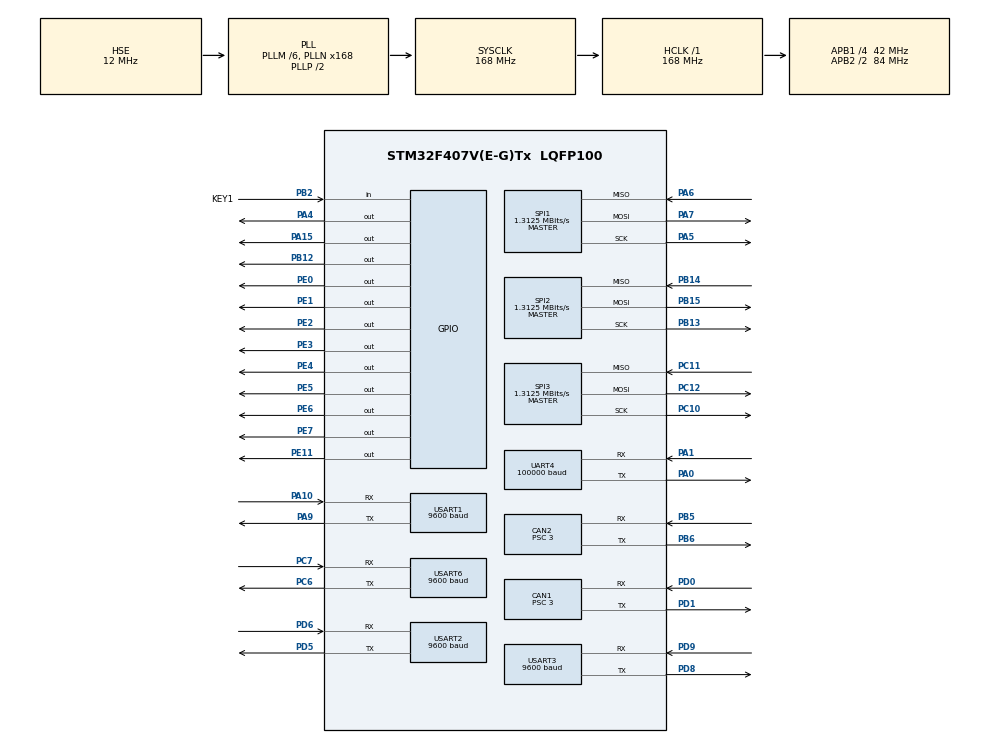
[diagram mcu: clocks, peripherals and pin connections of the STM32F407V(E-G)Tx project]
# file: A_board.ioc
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CAN1.BS1=CAN_BS1_9TQ
CAN1.BS2=CAN_BS2_4TQ
CAN1.CalculateBaudRate=1000000
CAN1.CalculateTimeBit=1000
CAN1.CalculateTimeQuantum=71.42857142857143
CAN1.Prescaler=3
CAN2.BS1=CAN_BS1_9TQ
CAN2.BS2=CAN_BS2_4TQ
CAN2.CalculateBaudRate=1000000
CAN2.CalculateTimeBit=1000
CAN2.CalculateTimeQuantum=71.42857142857143
CAN2.Prescaler=3
Dma.Request0=UART4_RX
Dma.Request1=USART1_TX
Dma.Request2=USART2_TX
Dma.Request3=USART3_TX
Dma.Request4=USART6_TX
Dma.UART4_RX.0.Direction=DMA_PERIPH_TO_MEMORY
Dma.UART4_RX.0.FIFOMode=DMA_FIFOMODE_DISABLE
Dma.UART4_RX.0.Instance=DMA1_Stream2
Dma.UART4_RX.0.MemDataAlignment=DMA_MDATAALIGN_BYTE
Dma.UART4_RX.0.MemInc=DMA_MINC_ENABLE
Dma.UART4_RX.0.Mode=DMA_CIRCULAR
Dma.UART4_RX.0.PeriphDataAlignment=DMA_PDATAALIGN_BYTE
Dma.UART4_RX.0.PeriphInc=DMA_PINC_DISABLE
Dma.UART4_RX.0.Priority=DMA_PRIORITY_VERY_HIGH
Dma.USART1_TX.1.Direction=DMA_MEMORY_TO_PERIPH
Dma.USART1_TX.1.FIFOMode=DMA_FIFOMODE_DISABLE
Dma.USART1_TX.1.Instance=DMA2_Stream7
Dma.USART1_TX.1.MemDataAlignment=DMA_MDATAALIGN_BYTE
Dma.USART1_TX.1.MemInc=DMA_MINC_ENABLE
Dma.USART1_TX.1.Mode=DMA_NORMAL
Dma.USART1_TX.1.PeriphDataAlignment=DMA_PDATAALIGN_BYTE
Dma.USART1_TX.1.PeriphInc=DMA_PINC_DISABLE
Dma.USART1_TX.1.Priority=DMA_PRIORITY_MEDIUM
Dma.USART2_TX.2.Direction=DMA_MEMORY_TO_PERIPH
Dma.USART2_TX.2.FIFOMode=DMA_FIFOMODE_DISABLE
Dma.USART2_TX.2.Instance=DMA1_Stream6
Dma.USART2_TX.2.MemDataAlignment=DMA_MDATAALIGN_BYTE
Dma.USART2_TX.2.MemInc=DMA_MINC_ENABLE
Dma.USART2_TX.2.Mode=DMA_NORMAL
Dma.USART2_TX.2.PeriphDataAlignment=DMA_PDATAALIGN_BYTE
Dma.USART2_TX.2.PeriphInc=DMA_PINC_DISABLE
Dma.USART2_TX.2.Priority=DMA_PRIORITY_MEDIUM
Dma.USART3_TX.3.Direction=DMA_MEMORY_TO_PERIPH
Dma.USART3_TX.3.FIFOMode=DMA_FIFOMODE_DISABLE
Dma.USART3_TX.3.Instance=DMA1_Stream3
Dma.USART3_TX.3.MemDataAlignment=DMA_MDATAALIGN_BYTE
Dma.USART3_TX.3.MemInc=DMA_MINC_ENABLE
Dma.USART3_TX.3.Mode=DMA_NORMAL
Dma.USART3_TX.3.PeriphDataAlignment=DMA_PDATAALIGN_BYTE
Dma.USART3_TX.3.PeriphInc=DMA_PINC_DISABLE
Dma.USART3_TX.3.Priority=DMA_PRIORITY_LOW
Dma.USART6_TX.4.Direction=DMA_MEMORY_TO_PERIPH
Dma.USART6_TX.4.FIFOMode=DMA_FIFOMODE_DISABLE
Dma.USART6_TX.4.Instance=DMA2_Stream6
Dma.USART6_TX.4.MemDataAlignment=DMA_MDATAALIGN_BYTE
Dma.USART6_TX.4.MemInc=DMA_MINC_ENABLE
Dma.USART6_TX.4.Mode=DMA_NORMAL
Dma.USART6_TX.4.PeriphDataAlignment=DMA_PDATAALIGN_BYTE
Dma.USART6_TX.4.PeriphInc=DMA_PINC_DISABLE
Dma.USART6_TX.4.Priority=DMA_PRIORITY_LOW
FREERTOS.INCLUDE_vTaskDelayUntil=1
FREERTOS.Tasks01=defaultTask,0,128,StartDefaultTask,Default,NULL,Dynamic,NULL,NULL
FREERTOS.configTOTAL_HEAP_SIZE=20000
Mcu.Family=STM32F4
Mcu.Name=STM32F407V(E-G)Tx
Mcu.Package=LQFP100
NVIC.CAN1_RX0_IRQn=true\:5\:0\:false\:false\:true\:true\:true\:true\:true
NVIC.CAN2_RX1_IRQn=true\:5\:0\:false\:false\:true\:true\:true\:true\:true
NVIC.DMA1_Stream2_IRQn=true\:5\:0\:false\:false\:true\:true\:false\:true\:true
NVIC.DMA1_Stream3_IRQn=true\:5\:0\:false\:false\:true\:true\:false\:true\:true
NVIC.DMA1_Stream6_IRQn=true\:5\:0\:false\:false\:true\:true\:false\:true\:true
NVIC.DMA2_Stream6_IRQn=true\:5\:0\:false\:false\:true\:true\:false\:true\:true
NVIC.DMA2_Stream7_IRQn=true\:5\:0\:false\:false\:true\:true\:false\:true\:true
NVIC.PriorityGroup=NVIC_PRIORITYGROUP_4
NVIC.TIM8_TRG_COM_TIM14_IRQn=true\:15\:0\:false\:false\:true\:false\:false\:true\:true
NVIC.TimeBase=TIM8_TRG_COM_TIM14_IRQn
NVIC.TimeBaseIP=TIM14
NVIC.UART4_IRQn=true\:5\:0\:false\:false\:true\:true\:true\:true\:true
NVIC.USART1_IRQn=true\:5\:0\:false\:false\:true\:true\:true\:true\:true
NVIC.USART2_IRQn=true\:5\:0\:false\:false\:true\:true\:true\:true\:true
NVIC.USART3_IRQn=true\:5\:0\:false\:false\:true\:true\:true\:true\:true
NVIC.USART6_IRQn=true\:5\:0\:false\:false\:true\:true\:true\:true\:true
PA0-WKUP.Mode=Asynchronous
PA0-WKUP.Signal=UART4_TX
PA1.Mode=Asynchronous
PA1.Signal=UART4_RX
PA10.Mode=Asynchronous
PA10.Signal=USART1_RX
PA13.Mode=Serial_Wire
PA13.Signal=SYS_JTMS-SWDIO
PA14.Mode=Serial_Wire
PA14.Signal=SYS_JTCK-SWCLK
PA15.Signal=GPIO_Output
PA4.Signal=GPIO_Output
PA5.Mode=Full_Duplex_Master
PA5.Signal=SPI1_SCK
PA6.Mode=Full_Duplex_Master
PA6.Signal=SPI1_MISO
PA7.Mode=Full_Duplex_Master
PA7.Signal=SPI1_MOSI
PA9.Mode=Asynchronous
PA9.Signal=USART1_TX
PB12.Signal=GPIO_Output
PB13.Mode=Full_Duplex_Master
PB13.Signal=SPI2_SCK
PB14.Mode=Full_Duplex_Master
PB14.Signal=SPI2_MISO
PB15.Mode=Full_Duplex_Master
PB15.Signal=SPI2_MOSI
PB2.GPIO_Label=KEY1
PB2.GPIO_PuPd=GPIO_PULLDOWN
PB2.Signal=GPIO_Input
PB5.Mode=CAN_Activate
PB5.Signal=CAN2_RX
PB6.Mode=CAN_Activate
PB6.Signal=CAN2_TX
PC10.Mode=Full_Duplex_Master
PC10.Signal=SPI3_SCK
PC11.Mode=Full_Duplex_Master
PC11.Signal=SPI3_MISO
PC12.Mode=Full_Duplex_Master
PC12.Signal=SPI3_MOSI
PC6.Mode=Asynchronous
PC6.Signal=USART6_TX
PC7.Mode=Asynchronous
PC7.Signal=USART6_RX
PD0.Mode=CAN_Activate
PD0.Signal=CAN1_RX
PD1.Mode=CAN_Activate
PD1.Signal=CAN1_TX
PD5.Mode=Asynchronous
PD5.Signal=USART2_TX
PD6.Mode=Asynchronous
PD6.Signal=USART2_RX
PD8.Mode=Asynchronous
PD8.Signal=USART3_TX
PD9.Mode=Asynchronous
PD9.Signal=USART3_RX
PE0.GPIO_ModeDefaultOutputPP=GPIO_MODE_OUTPUT_OD
PE0.GPIO_PuPd=GPIO_NOPULL
PE0.GPIO_Speed=GPIO_SPEED_FREQ_LOW
PE0.PinState=GPIO_PIN_RESET
PE0.Signal=GPIO_Output
PE1.GPIO_ModeDefaultOutputPP=GPIO_MODE_OUTPUT_OD
PE1.GPIO_PuPd=GPIO_NOPULL
PE1.GPIO_Speed=GPIO_SPEED_FREQ_LOW
PE1.PinState=GPIO_PIN_RESET
PE1.Signal=GPIO_Output
PE11.Signal=GPIO_Output
PE2.GPIO_ModeDefaultOutputPP=GPIO_MODE_OUTPUT_OD
PE2.GPIO_PuPd=GPIO_NOPULL
PE2.GPIO_Speed=GPIO_SPEED_FREQ_LOW
PE2.PinState=GPIO_PIN_RESET
PE2.Signal=GPIO_Output
PE3.GPIO_ModeDefaultOutputPP=GPIO_MODE_OUTPUT_OD
PE3.GPIO_PuPd=GPIO_NOPULL
PE3.GPIO_Speed=GPIO_SPEED_FREQ_LOW
PE3.PinState=GPIO_PIN_RESET
PE3.Signal=GPIO_Output
PE4.GPIO_ModeDefaultOutputPP=GPIO_MODE_OUTPUT_OD
PE4.GPIO_PuPd=GPIO_NOPULL
PE4.GPIO_Speed=GPIO_SPEED_FREQ_LOW
PE4.PinState=GPIO_PIN_RESET
PE4.Signal=GPIO_Output
PE5.GPIO_ModeDefaultOutputPP=GPIO_MODE_OUTPUT_OD
PE5.GPIO_PuPd=GPIO_NOPULL
PE5.GPIO_Speed=GPIO_SPEED_FREQ_LOW
PE5.PinState=GPIO_PIN_RESET
PE5.Signal=GPIO_Output
PE6.GPIO_ModeDefaultOutputPP=GPIO_MODE_OUTPUT_OD
PE6.GPIO_PuPd=GPIO_NOPULL
PE6.GPIO_Speed=GPIO_SPEED_FREQ_LOW
PE6.PinState=GPIO_PIN_RESET
PE6.Signal=GPIO_Output
PE7.GPIO_ModeDefaultOutputPP=GPIO_MODE_OUTPUT_OD
PE7.GPIO_PuPd=GPIO_NOPULL
PE7.GPIO_Speed=GPIO_SPEED_FREQ_LOW
PE7.PinState=GPIO_PIN_RESET
PE7.Signal=GPIO_Output
PH0-OSC_IN.Mode=HSE-External-Oscillator
PH0-OSC_IN.Signal=RCC_OSC_IN
PH1-OSC_OUT.Mode=HSE-External-Oscillator
PH1-OSC_OUT.Signal=RCC_OSC_OUT
ProjectManager.HeapSize=0x200
ProjectManager.StackSize=0x400
ProjectManager.TargetToolchain=MDK-ARM V5.32
RCC.48MHZClocksFreq_Value=84000000
RCC.AHBFreq_Value=168000000
RCC.APB1CLKDivider=RCC_HCLK_DIV4
RCC.APB1Freq_Value=42000000
RCC.APB1TimFreq_Value=84000000
RCC.APB2CLKDivider=RCC_HCLK_DIV2
RCC.APB2Freq_Value=84000000
RCC.APB2TimFreq_Value=168000000
RCC.CortexFreq_Value=168000000
RCC.HCLKFreq_Value=168000000
RCC.HSE_VALUE=12000000
RCC.HSI_VALUE=16000000
RCC.LSE_VALUE=32768
RCC.PLLM=6
RCC.PLLN=168
RCC.PLLSourceVirtual=RCC_PLLSOURCE_HSE
RCC.SYSCLKFreq_VALUE=168000000
RCC.SYSCLKSource=RCC_SYSCLKSOURCE_PLLCLK
RCC.VCOOutputFreq_Value=336000000
SPI1.BaudRatePrescaler=SPI_BAUDRATEPRESCALER_64
SPI1.CalculateBaudRate=1.3125 MBits/s
SPI1.Direction=SPI_DIRECTION_2LINES
SPI1.Mode=SPI_MODE_MASTER
SPI1.VirtualType=VM_MASTER
SPI2.BaudRatePrescaler=SPI_BAUDRATEPRESCALER_32
SPI2.CalculateBaudRate=1.3125 MBits/s
SPI2.Direction=SPI_DIRECTION_2LINES
SPI2.Mode=SPI_MODE_MASTER
SPI2.VirtualType=VM_MASTER
SPI3.BaudRatePrescaler=SPI_BAUDRATEPRESCALER_32
SPI3.CalculateBaudRate=1.3125 MBits/s
SPI3.Direction=SPI_DIRECTION_2LINES
SPI3.Mode=SPI_MODE_MASTER
SPI3.VirtualType=VM_MASTER
UART4.BaudRate=100000
UART4.Parity=PARITY_EVEN
UART4.StopBits=UART_STOPBITS_2
UART4.VirtualMode=Asynchronous
UART4.WordLength=WORDLENGTH_9B
USART1.BaudRate=9600
USART1.VirtualMode=VM_ASYNC
USART2.BaudRate=9600
USART2.VirtualMode=VM_ASYNC
USART3.BaudRate=9600
USART3.VirtualMode=VM_ASYNC
USART6.BaudRate=9600
USART6.VirtualMode=VM_ASYNC
VP_FREERTOS_VS_CMSIS_V1.Mode=CMSIS_V1
VP_SYS_VS_tim14.Mode=TIM14
board=custom

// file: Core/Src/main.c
/* USER CODE BEGIN Header */
/**
  ******************************************************************************
  * @file           : main.c
  * @brief          : Main program body
  ******************************************************************************
  * @attention
  *
  * Copyright (c) 2025 STMicroelectronics.
  * All rights reserved.
  *
  * This software is licensed under terms that can be found in the LICENSE file
  * in the root directory of this software component.
  * If no LICENSE file comes with this software, it is provided AS-IS.
  *
  ******************************************************************************
  */
/* USER CODE END Header */
#include "main.h"
#include "cmsis_os.h"
#include "can.h"
#include "dma.h"
#include "spi.h"
#include "usart.h"
#include "gpio.h"

/* USER CODE BEGIN Includes */
#include <stdbool.h>
#include "cmsis_os.h"
#include "sbus_set.h"
#include "bsp_can.h"
#include "lift.h"
#include "arm.h"
#include "grab.h"
#include "solenoid_valves.h"
/* USER CODE END Includes */

/* USER CODE BEGIN PD */
#define SBUS_TIMEOUT_MS 100
#define MODE_DEBOUNCE_MS 50      /* CH12模式消抖 */
#define LIFT_H_3F   28.0f   /* 抬升 3层 */
#define LIFT_H_2F   18.0f   /* 抬升 2层 (中位) */
#define LIFT_H_1F   8.0f   /* 抬升 1层 */
#define LIFT_H_PLACE_H  25.0f  /* 放方块 (CH6上) */
#define LIFT_H_PLACE_M  20.0f  /* 放方块 (CH6中) */
#define LIFT_H_PLACE_L   0.0f  /* 放方块 (CH6下) */
#define CH1_FINE_MAX   3.0f  /* CH1微调最大偏移 (吸方块) */
#define CH1_PLACE_MAX  7.0f  /* CH1微调最大偏移 (放方块) */
/* USER CODE END PD */

/* USER CODE BEGIN PV */
uint16_t led_buf = 0x0001;
static uint32_t last_sbus_tick = 0;
static bool     last_ch4 = false;
bool            g_sys_enabled  = false;
static bool     g_was_enabled  = false;
/* USER CODE END PV */

void SystemClock_Config(void);
void MX_FREERTOS_Init(void);

/* USER CODE BEGIN 0 */

/* ------- SBUS helpers ------- */

static inline bool sbus_connected(void)
{
    return (xTaskGetTickCount() - last_sbus_tick) < pdMS_TO_TICKS(SBUS_TIMEOUT_MS);
}
static inline bool ch_high(int ch) { return sbus_ch.ch[ch] > 1300; }
static inline bool ch_low(int ch)  { return sbus_ch.ch[ch] < 650;  }
static inline bool ch_mid(int ch)  { return sbus_ch.ch[ch] >= 650 && sbus_ch.ch[ch] <= 1300; }

/* ------- CH4 锁车/解锁 ------- */

static void system_enable_handler(void)
{
    bool ch4 = ch_high(4);                 /* 两档: 下拨=解锁 */

    if(ch4 && !last_ch4)                    /* 下拨沿 -> 解锁 */
    {
        lift_enable();
        arm_enable();
        grab_enable();
        g_sys_enabled  = true;
        g_was_enabled  = true;
    }
    else if(!ch4 && last_ch4)               /* 下沿 -> 锁车 */
    {
        g_sys_enabled = false;
        vTaskDelay(5);                       /* 等CAN邮箱清空 */
        lift_disable();
        arm_disable();
        grab_disable();
        grab_reset();                        /* 锁车时清零抓取工序 */
    }

    last_ch4 = ch4;
}

/* ------- SBUS 遥控调度 ------- */

void sbus_task(void *parameter)
{
    while(1)
    {
        sbus_poll();

        if(sbus_frame_ready)
        {
            sbus_frame_ready = false;

            /* 失控保护 -> 立刻锁车 */
            if(sbus_ch.failsafe)
            {
                if(g_sys_enabled)
                {
                    g_sys_enabled = false;
                    vTaskDelay(5);               /* 等CAN邮箱清空 */
                    lift_disable();
                    arm_disable();
                    grab_disable();
                }
                continue;
            }

            last_sbus_tick = xTaskGetTickCount();
            system_enable_handler();

            /* CH7 每次切换 → 串口IR (无条件) */
            {
                static bool ch7_ir_last = false;
                bool ch7 = (sbus_ch.ch[7] < 650);

                if(ch7 != ch7_ir_last)           /* 每次切换都发 */
                {
                    static uint8_t ir_cmd[] = {0xA1, 0xF1, 0xCC, 0x01, 0xEE};
                    HAL_UART_Transmit_DMA(&huart1, ir_cmd, 5);
                    HAL_UART_Transmit_DMA(&huart2, ir_cmd, 5);
                    HAL_UART_Transmit_DMA(&huart3, ir_cmd, 5);
                    HAL_UART_Transmit_DMA(&huart6, ir_cmd, 5);
                }
                ch7_ir_last = ch7;
            }

            /* ---- CH12 模式消抖 ---- */
            typedef enum { M_NONE, M_GRAB, M_SUCTION, M_PLACE } mode_t;
            static mode_t    g_mode_cur = M_NONE;
            static mode_t    g_mode_new = M_NONE;
            static uint32_t  g_mode_tick = 0;

            mode_t mode_raw;
            if(ch_low(12))       mode_raw = M_GRAB;
            else if(ch_mid(12))  mode_raw = M_SUCTION;
            else if(ch_high(12)) mode_raw = M_PLACE;
            else                 mode_raw = M_NONE;

            if(mode_raw != g_mode_new)
            {
                g_mode_new  = mode_raw;
                g_mode_tick = xTaskGetTickCount();
            }
            if(g_mode_new != g_mode_cur &&
               (xTaskGetTickCount() - g_mode_tick) > pdMS_TO_TICKS(MODE_DEBOUNCE_MS))
            {
                g_mode_cur = g_mode_new;
            }

            switch(g_mode_cur)
            {
            case M_GRAB:   /* 抓取模式 (含抬升回零/R2对接) */
                lift_update(grab_lift_target(sbus_ch.ch[6]));
                grab_update(&sbus_ch);
                break;

            case M_SUCTION: /* 吸方块: CH6选层高+CH1微调+机械臂 */
                {
                float ch1 = (float)sbus_ch.ch[1];
                float offset = 0.0f;
                if      (ch1 > 1012.0f) offset = -Map(ch1, 1012.0f, 1659.0f, 0.0f, CH1_FINE_MAX);
                else if (ch1 < 972.0f)  offset =  Map(ch1,  972.0f,  326.0f, 0.0f, CH1_FINE_MAX);

                float base = ch_high(6) ? LIFT_H_1F :   /* 下拨→低 */
                             ch_low(6)  ? LIFT_H_3F :   /* 上拨→高 */
                                           LIFT_H_2F;   /* 中位→中 */
                lift_update(base + offset);

                bool sel = (sbus_ch.ch[13] > 1300);  /* CH13下拨=左臂, 上拨=右臂 */
                arm_update(&sbus_ch, sel, true);   /* tip_up_fwd: 吸方块45° */
                break;
                }

            case M_PLACE:  /* 放方块: CH6三档+CH1微调+机械臂 */
                {
                float ch1 = (float)sbus_ch.ch[1];
                float offset = 0.0f;
                if      (ch1 > 1012.0f) offset = -Map(ch1, 1012.0f, 1659.0f, 0.0f, CH1_PLACE_MAX);
                else if (ch1 < 972.0f)  offset =  Map(ch1,  972.0f,  326.0f, 0.0f, CH1_PLACE_MAX);

                float base = ch_high(6) ? LIFT_H_PLACE_L :   /* 下拨→0 */
                             ch_low(6)  ? LIFT_H_PLACE_H :   /* 上拨→25 */
                                           LIFT_H_PLACE_M;   /* 中位→20 */
                lift_update(base + offset);

                bool sel = (sbus_ch.ch[13] > 1300);  /* CH13下拨=左臂, 上拨=右臂 */
                arm_update(&sbus_ch, sel, false);  /* tip_up_fwd: 放方块朝前 */
                break;
                }

            default: break;
            }

            /* 吸盘锁存: 臂打下→吸(放方块高位除外), CH11手动关 */
            {
                static bool suction_L = false, suction_R = false;
                bool can_suck = !ch_high(12) || ch_high(6); /* 放方块仅最低档触发 */
                if(arm_is_left_down()  && can_suck) suction_L = true;
                if(arm_is_right_down() && can_suck) suction_R = true;
                if(ch_high(11)) suction_L = false;
                if(ch_low(11))  suction_R = false;
                YV1(suction_L ? 1 : 0);
                YV2(suction_R ? 1 : 0);
            }
            grab_update_rack(sbus_ch.ch[8]);
        }
        else if(!sbus_connected())
        {
            if(g_sys_enabled)
            {
                g_sys_enabled = false;
                vTaskDelay(5);               /* 等CAN邮箱清空 */
                lift_disable();
                arm_disable();
                grab_disable();
            }
        }

        /* 失能后每200ms重发disable, 确保电机收到 */
        if(!g_sys_enabled && g_was_enabled)
        {
            static uint32_t g_retry_tick = 0;
            if((xTaskGetTickCount() - g_retry_tick) > pdMS_TO_TICKS(200))
            {
                g_retry_tick = xTaskGetTickCount();
                lift_disable();
                arm_disable();
                grab_disable();
            }
        }

        vTaskDelay(4);
    }
}

/* ------- LED 流水灯 ------- */

void led_task(void *parameter)
{
    while(1)
    {
        HAL_GPIO_TogglePin(GPIOE, led_buf);
        if(led_buf < 0x0100) { led_buf <<= 1; }
        else { led_buf = 0x0001; }
        vTaskDelay(g_sys_enabled ? 200 : 100);
    }
}

/* ------- 启动任务 ------- */

void start_task(void *parameter)
{
    sbus_rx_init();
    can_filter_init();
    lift_init();
    arm_init();
    grab_init();

    xTaskCreate(led_task,  "led_task",  128, NULL, 0, NULL);
    xTaskCreate(sbus_task, "sbus_task", 512, NULL, 0, NULL);
    xTaskCreate(lift_task, "lift_task", 512, NULL, 0, NULL);
    xTaskCreate(arm_task,  "arm_task",  256, NULL, 0, NULL);
    xTaskCreate(grab_task, "grab_task", 256, NULL, 0, NULL);

    vTaskDelete(NULL);
}

/* USER CODE END 0 */

int main(void)
{

  /* MCU Configuration--------------------------------------------------------*/

  /* Reset of all peripherals, Initializes the Flash interface and the Systick. */
  HAL_Init();

  /* Configure the system clock */
  SystemClock_Config();

  /* Initialize all configured peripherals */
  MX_GPIO_Init();
  MX_DMA_Init();
  MX_CAN1_Init();
  MX_CAN2_Init();
  MX_SPI1_Init();
  MX_SPI2_Init();
  MX_SPI3_Init();
  MX_UART4_Init();
  MX_USART1_UART_Init();
  MX_USART2_UART_Init();
  MX_USART3_UART_Init();
  MX_USART6_UART_Init();
  /* USER CODE BEGIN 2 */

	if (xTaskCreate(start_task, "start_task", 256, NULL, 0, NULL) != pdPASS)
	{
		while (1);
	}

  /* USER CODE END 2 */

  /* Call init function for freertos objects (in cmsis_os2.c) */
  MX_FREERTOS_Init();

  /* Start scheduler */
  osKernelStart();

  /* We should never get here as control is now taken by the scheduler */

  /* Infinite loop */
  while (1)
  {

  }
}

void SystemClock_Config(void)
{
  RCC_OscInitTypeDef RCC_OscInitStruct = {0};
  RCC_ClkInitTypeDef RCC_ClkInitStruct = {0};

  /** Configure the main internal regulator output voltage
  */
  __HAL_RCC_PWR_CLK_ENABLE();
  __HAL_PWR_VOLTAGESCALING_CONFIG(PWR_REGULATOR_VOLTAGE_SCALE1);

  /** Initializes the RCC Oscillators according to the specified parameters
  * in the RCC_OscInitTypeDef structure.
  */
  RCC_OscInitStruct.OscillatorType = RCC_OSCILLATORTYPE_HSE;
  RCC_OscInitStruct.HSEState = RCC_HSE_ON;
  RCC_OscInitStruct.PLL.PLLState = RCC_PLL_ON;
  RCC_OscInitStruct.PLL.PLLSource = RCC_PLLSOURCE_HSE;
  RCC_OscInitStruct.PLL.PLLM = 6;
  RCC_OscInitStruct.PLL.PLLN = 168;
  RCC_OscInitStruct.PLL.PLLP = RCC_PLLP_DIV2;
  RCC_OscInitStruct.PLL.PLLQ = 4;
  if (HAL_RCC_OscConfig(&RCC_OscInitStruct) != HAL_OK)
  {
    Error_Handler();
  }

  /** Initializes the CPU, AHB and APB buses clocks
  */
  RCC_ClkInitStruct.ClockType = RCC_CLOCKTYPE_HCLK|RCC_CLOCKTYPE_SYSCLK
                              |RCC_CLOCKTYPE_PCLK1|RCC_CLOCKTYPE_PCLK2;
  RCC_ClkInitStruct.SYSCLKSource = RCC_SYSCLKSOURCE_PLLCLK;
  RCC_ClkInitStruct.AHBCLKDivider = RCC_SYSCLK_DIV1;
  RCC_ClkInitStruct.APB1CLKDivider = RCC_HCLK_DIV4;
  RCC_ClkInitStruct.APB2CLKDivider = RCC_HCLK_DIV2;

  if (HAL_RCC_ClockConfig(&RCC_ClkInitStruct, FLASH_LATENCY_5) != HAL_OK)
  {
    Error_Handler();
  }
}

void HAL_TIM_PeriodElapsedCallback(TIM_HandleTypeDef *htim)
{
  if (htim->Instance == TIM14)
  {
    HAL_IncTick();
  }
}

void Error_Handler(void)
{
  __disable_irq();
  while (1)
  {
  }
}

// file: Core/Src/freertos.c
/* USER CODE BEGIN Header */
/**
  ******************************************************************************
  * File Name          : freertos.c
  * Description        : Code for freertos applications
  ******************************************************************************
  * @attention
  *
  * Copyright (c) 2025 STMicroelectronics.
  * All rights reserved.
  *
  * This software is licensed under terms that can be found in the LICENSE file
  * in the root directory of this software component.
  * If no LICENSE file comes with this software, it is provided AS-IS.
  *
  ******************************************************************************
  */
/* USER CODE END Header */

#include "FreeRTOS.h"
#include "task.h"
#include "main.h"
#include "cmsis_os.h"

osThreadId defaultTaskHandle;

void StartDefaultTask(void const * argument);

void MX_FREERTOS_Init(void); /* (MISRA C 2004 rule 8.1) */

/* GetIdleTaskMemory prototype (linked to static allocation support) */
void vApplicationGetIdleTaskMemory( StaticTask_t **ppxIdleTaskTCBBuffer, StackType_t **ppxIdleTaskStackBuffer, uint32_t *pulIdleTaskStackSize );

/* USER CODE BEGIN GET_IDLE_TASK_MEMORY */
static StaticTask_t xIdleTaskTCBBuffer;
static StackType_t xIdleStack[configMINIMAL_STACK_SIZE];

void vApplicationGetIdleTaskMemory( StaticTask_t **ppxIdleTaskTCBBuffer, StackType_t **ppxIdleTaskStackBuffer, uint32_t *pulIdleTaskStackSize )
{
  *ppxIdleTaskTCBBuffer = &xIdleTaskTCBBuffer;
  *ppxIdleTaskStackBuffer = &xIdleStack[0];
  *pulIdleTaskStackSize = configMINIMAL_STACK_SIZE;
  /* place for user code */
}
/* USER CODE END GET_IDLE_TASK_MEMORY */

void MX_FREERTOS_Init(void) {

  /* Create the thread(s) */
  /* definition and creation of defaultTask */
  osThreadDef(defaultTask, StartDefaultTask, osPriorityNormal, 0, 128);
  defaultTaskHandle = osThreadCreate(osThread(defaultTask), NULL);

}

void StartDefaultTask(void const * argument)
{
  /* USER CODE BEGIN StartDefaultTask */
  /* Infinite loop */
  for(;;)
  {
    vTaskDelete(NULL);
  }
  /* USER CODE END StartDefaultTask */
}
